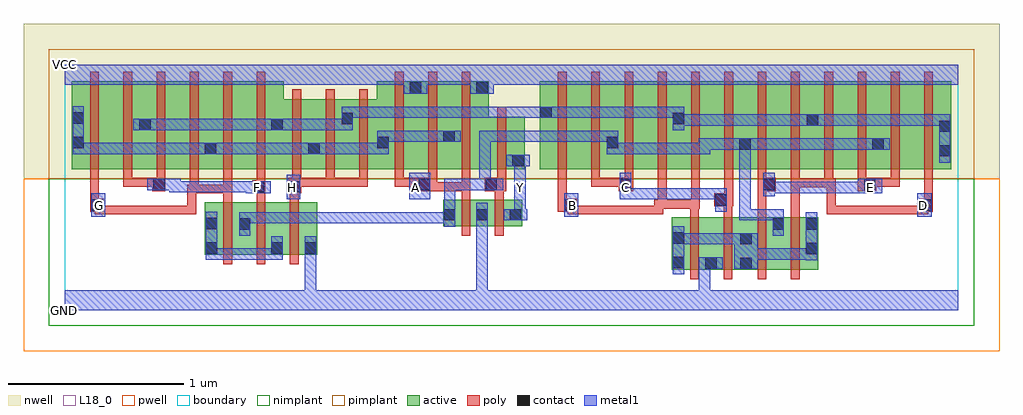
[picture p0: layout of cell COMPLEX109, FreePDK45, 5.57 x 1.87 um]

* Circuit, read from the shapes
.subckt COMPLEX109 A B C D E F G GND H VCC Y
M1 n1 G n2 VSUBS nfet w=0.3u l=0.05u
M2 n2 F n1 VSUBS nfet w=0.3u l=0.05u
M3 GND H n2 VSUBS nfet w=0.3u l=0.05u
M4 GND A n1 VSUBS nfet w=0.15u l=0.05u
M5 Y n1 GND VSUBS nfet w=0.15u l=0.05u
M6 GND B n3 VSUBS nfet w=0.3u l=0.05u
M7 n3 C GND VSUBS nfet w=0.3u l=0.05u
M8 n1 E n3 VSUBS nfet w=0.3u l=0.05u
M9 n3 D n1 VSUBS nfet w=0.3u l=0.05u
M10 n4 G n5 n6 pfet w=0.5u l=0.05u
M11 n7 F n4 n6 pfet w=0.5u l=0.05u
M12 n8 F n7 n6 pfet w=0.5u l=0.05u
M13 n5 G n8 n6 pfet w=0.5u l=0.05u
M14 n9 G n5 n6 pfet w=0.5u l=0.05u
M15 n7 F n9 n6 pfet w=0.5u l=0.05u
M16 n5 H n7 n6 pfet w=0.4u l=0.05u m=3
M17 VCC A n5 n6 pfet w=0.5u l=0.05u m=3
M18 Y n1 VCC n6 pfet w=0.3u l=0.05u
M19 n10 B n7 n6 pfet w=0.5u l=0.05u
M20 n1 C n10 n6 pfet w=0.5u l=0.05u
M21 n11 C n1 n6 pfet w=0.5u l=0.05u
M22 n7 B n11 n6 pfet w=0.5u l=0.05u
M23 n12 B n7 n6 pfet w=0.5u l=0.05u
M24 n1 C n12 n6 pfet w=0.5u l=0.05u
M25 n13 E n1 n6 pfet w=0.5u l=0.05u
M26 n7 D n13 n6 pfet w=0.5u l=0.05u
M27 n14 D n7 n6 pfet w=0.5u l=0.05u
M28 n1 E n14 n6 pfet w=0.5u l=0.05u
M29 n15 E n1 n6 pfet w=0.5u l=0.05u
M30 n7 D n15 n6 pfet w=0.5u l=0.05u
.ends

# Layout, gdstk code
import gdstk
lib = gdstk.Library(unit=1e-6, precision=1e-09)
def R(c, l, rs):  # rectangles x0, y0, x1, y1
    for r in rs: c.add(gdstk.rectangle(r[:2], r[2:], *l))
def A(c, l, x, y, w, h, nx, ny, dx, dy):  # array of equal rectangles
    R(c, l, [(x+i*dx, y+j*dy, x+i*dx+w, y+j*dy+h) for i in range(nx) for j in range(ny)])
active = (1, 0)
pwell = (2, 0)
nwell = (3, 0)
nimplant = (4, 0)
pimplant = (5, 0)
poly = (9, 0)
contact = (10, 0)
metal1 = (11, 0)
L18_0 = (18, 0)
boundary = (235, 0)

complex109 = lib.new_cell('COMPLEX109')
R(complex109, active, [(3.465,0.23,3.725,0.53), (3.65,0.23,3.925,0.53), (3.65,0.23,3.725,0.487), (3.85,0.23,4.11,0.53), (3.85,0.23,3.925,0.497), (4.035,0.23,4.3,0.53), (4.225,0.23,4.3,0.53), (3.465,0.235,3.54,0.53), (0.8,0.317,0.875,0.617), (0.8,0.317,1.065,0.617), (0.99,0.317,1.25,0.617), (1.175,0.317,1.44,0.617), (1.175,0.317,1.25,0.497), (1.365,0.317,1.44,0.597), (0.99,0.357,1.065,0.53), (4.035,0.357,4.11,0.53), (2.16,0.48,2.235,0.63), (2.16,0.48,2.42,0.63), (2.345,0.48,2.61,0.63), (2.535,0.48,2.61,0.63), (2.345,0.502,2.42,0.582), (0.04,0.805,0.265,1.305), (0.04,0.805,0.145,1.2), (0.265,0.805,0.495,1.305), (0.42,0.805,0.495,1.2), (0.42,0.805,0.645,1.305), (0.645,0.805,0.87,1.305), (0.795,0.805,1.025,1.305), (0.795,0.805,0.87,1.07), (1.025,0.805,1.25,1.305), (1.175,0.805,1.46,1.205), (1.385,0.805,1.46,1.07), (1.385,0.805,1.65,1.205), (1.575,0.805,1.65,1.2), (1.575,0.805,1.855,1.205), (1.78,0.805,2.04,1.305), (1.965,0.805,2.23,1.305), (1.965,0.805,2.04,1.305), (2.155,0.805,2.23,1.07), (2.155,0.805,2.42,1.305), (2.345,0.805,2.625,1.105), (2.71,0.805,2.935,1.305), (2.935,0.805,3.165,1.305), (3.09,0.805,3.315,1.305), (3.09,0.805,3.165,1.07), (3.315,0.805,3.54,1.305), (3.465,0.805,3.54,1.2), (3.465,0.805,3.695,1.305), (3.695,0.805,3.92,1.305), (3.845,0.805,4.075,1.305), (3.845,0.805,3.92,1.07), (4.075,0.805,4.305,1.305), (4.23,0.805,4.305,1.2), (4.23,0.805,4.455,1.305), (4.455,0.805,4.68,1.305), (4.605,0.805,4.835,1.305), (4.605,0.805,4.68,1.07), (4.835,0.805,5.06,1.305), (4.985,0.805,5.06,1.2), (2.71,0.807,2.815,1.2), (2.55,0.817,2.625,0.917), (2.345,0.865,2.42,1.305), (1.175,0.907,1.25,1.2), (1.78,0.907,1.855,1.07)])
R(complex109, pwell, [(-0.235,-0.235,5.335,0.75)])
R(complex109, nwell, [(-0.235,0.75,5.335,1.635)])
R(complex109, nimplant, [(-0.09,-0.09,5.19,0.75)])
R(complex109, pimplant, [(-0.09,0.75,5.19,1.49)])
A(complex109, poly, 0.905, 0.262, 0.05, 0.41, 3, 1, 0.19, 0)
A(complex109, poly, 0.905, 0.622, 0.05, 0.095, 3, 1, 0.19, 0)
A(complex109, poly, 1.3, 0.705, 0.05, 0.095, 3, 1, 0.19, 0)
A(complex109, poly, 0.145, 0.75, 0.05, 0.61, 6, 1, 0.19, 0)
A(complex109, poly, 1.3, 0.75, 0.05, 0.51, 3, 1, 0.19, 0)
A(complex109, poly, 1.885, 0.75, 0.05, 0.61, 3, 1, 0.19, 0)
A(complex109, poly, 2.815, 0.75, 0.05, 0.61, 12, 1, 0.19, 0)
R(complex109, poly, [(3.57,0.175,3.62,0.585), (3.76,0.175,3.81,0.585), (3.955,0.175,4.005,0.585), (4.145,0.175,4.195,0.585), (2.265,0.425,2.315,0.685), (2.455,0.425,2.505,0.685), (3.57,0.535,3.62,0.63), (3.76,0.535,3.81,0.642), (3.955,0.535,4.005,0.73), (4.145,0.535,4.195,0.752), (0.172,0.547,0.222,0.612), (0.172,0.547,0.222,0.597), (0.172,0.547,0.417,0.597), (0.367,0.547,0.417,0.597), (0.367,0.547,0.417,0.597), (0.367,0.547,0.417,0.597), (0.367,0.547,0.617,0.597), (0.567,0.547,0.617,0.597), (0.567,0.547,0.617,0.597), (0.567,0.547,0.617,0.597), (0.567,0.547,0.75,0.597), (0.7,0.547,0.75,0.597), (0.7,0.547,0.75,0.597), (0.7,0.547,0.75,0.597), (0.7,0.547,0.75,0.597), (0.7,0.547,0.75,0.597), (0.7,0.547,0.75,0.717), (2.872,0.547,2.922,0.612), (2.872,0.547,2.922,0.597), (2.872,0.547,2.922,0.597), (2.872,0.547,2.922,0.597), (2.872,0.547,2.922,0.597), (2.872,0.547,2.922,0.597), (2.872,0.547,3.055,0.597), (3.005,0.547,3.055,0.597), (3.005,0.547,3.055,0.597), (3.005,0.547,3.055,0.597), (3.005,0.547,3.187,0.597), (3.137,0.547,3.187,0.597), (3.137,0.547,3.415,0.597), (3.365,0.547,3.415,0.597), (3.365,0.547,3.415,0.597), (3.365,0.547,3.415,0.597), (3.365,0.547,3.415,0.63), (4.35,0.547,4.4,0.597), (4.35,0.547,4.4,0.597), (4.35,0.547,4.4,0.597), (4.35,0.547,4.4,0.597), (4.35,0.547,4.4,0.597), (4.35,0.547,4.532,0.597), (4.35,0.547,4.4,0.752), (4.482,0.547,4.532,0.597), (4.482,0.547,4.795,0.597), (4.745,0.547,4.795,0.597), (4.745,0.547,4.795,0.597), (4.745,0.547,4.795,0.597), (4.745,0.547,4.927,0.597), (4.877,0.547,4.927,0.612), (4.877,0.547,4.927,0.597), (4.877,0.547,4.927,0.597), (4.877,0.547,4.927,0.597), (4.877,0.547,4.927,0.597), (4.877,0.547,4.927,0.597), (0.145,0.562,0.222,0.637), (0.172,0.562,0.222,0.612), (0.172,0.562,0.222,0.612), (2.815,0.562,2.922,0.637), (4.877,0.562,4.955,0.637), (3.365,0.58,3.415,0.63), (3.365,0.58,3.415,0.63), (3.365,0.58,3.435,0.63), (3.385,0.58,3.435,0.8), (3.385,0.58,3.62,0.63), (3.57,0.58,3.62,0.63), (3.57,0.58,3.62,0.63), (3.57,0.58,3.625,0.63), (3.575,0.58,3.625,0.8), (0.145,0.587,0.195,0.8), (2.815,0.587,2.865,0.8), (4.905,0.587,4.955,0.8), (3.707,0.592,3.815,0.667), (3.765,0.617,3.815,0.8), (2.265,0.635,2.315,0.73), (2.455,0.635,2.505,0.73), (0.7,0.667,0.765,0.717), (0.715,0.667,0.955,0.717), (0.715,0.667,0.765,0.8), (0.905,0.667,0.955,0.717), (0.905,0.667,0.955,0.717), (0.905,0.667,0.955,0.717), (0.905,0.667,0.955,0.8), (1.07,0.667,1.145,0.742), (1.275,0.667,1.35,0.755), (0.5,0.68,0.575,0.755), (2.017,0.68,2.125,0.755), (2.075,0.68,2.125,0.73), (2.075,0.68,2.125,0.73), (2.075,0.68,2.315,0.73), (2.265,0.68,2.315,0.73), (2.265,0.68,2.315,0.8), (2.397,0.68,2.52,0.755), (3.162,0.68,3.245,0.755), (3.955,0.68,4.057,0.755), (4.525,0.68,4.632,0.755), (1.095,0.692,1.145,0.8), (4.145,0.702,4.195,0.752), (4.145,0.702,4.195,0.752), (4.145,0.702,4.195,0.752), (4.145,0.702,4.195,0.8), (4.145,0.702,4.385,0.752), (4.335,0.702,4.385,0.8), (4.335,0.702,4.4,0.752), (0.335,0.705,0.385,0.755), (0.335,0.705,0.385,0.8), (0.335,0.705,0.55,0.755), (0.5,0.705,0.55,0.755), (0.5,0.705,0.55,0.755), (0.525,0.705,0.575,0.8), (1.3,0.705,1.35,0.755), (1.3,0.705,1.35,0.755), (1.3,0.705,1.54,0.755), (1.49,0.705,1.54,0.755), (1.49,0.705,1.54,0.755), (1.49,0.705,1.54,0.755), (1.49,0.705,1.73,0.755), (1.68,0.705,1.73,0.755), (1.885,0.705,1.935,0.755), (1.885,0.705,1.935,0.755), (1.885,0.705,1.935,0.755), (1.885,0.705,2.067,0.755), (1.885,0.705,1.935,0.8), (2.075,0.705,2.125,0.8), (2.47,0.705,2.52,0.8), (3.005,0.705,3.055,0.755), (3.005,0.705,3.055,0.755), (3.005,0.705,3.055,0.755), (3.005,0.705,3.055,0.8), (3.005,0.705,3.212,0.755), (3.195,0.705,3.245,0.8), (3.955,0.705,4.005,0.8), (4.525,0.705,4.575,0.8), (4.582,0.705,4.632,0.755), (4.582,0.705,4.632,0.755), (4.582,0.705,4.765,0.755), (4.715,0.705,4.765,0.755), (4.715,0.705,4.765,0.8), (2.47,0.75,2.52,1.16)])
R(complex109, contact, [(3.855,0.235,3.92,0.3), (3.655,0.237,3.72,0.302), (3.47,0.24,3.535,0.305), (4.23,0.32,4.295,0.385), (0.805,0.322,0.87,0.387), (1.18,0.322,1.245,0.387), (1.37,0.322,1.435,0.387), (3.855,0.375,3.92,0.44), (3.47,0.38,3.535,0.445), (0.995,0.46,1.06,0.525), (4.04,0.46,4.105,0.525), (4.23,0.46,4.295,0.525), (0.805,0.462,0.87,0.527), (2.165,0.512,2.23,0.577), (2.35,0.512,2.415,0.577), (2.54,0.512,2.605,0.577), (0.152,0.567,0.217,0.632), (2.852,0.567,2.917,0.632), (4.882,0.567,4.947,0.632), (3.712,0.597,3.777,0.662), (1.075,0.672,1.14,0.737), (1.28,0.672,1.345,0.737), (0.505,0.685,0.57,0.75), (2.022,0.685,2.087,0.75), (2.402,0.685,2.467,0.75), (3.167,0.685,3.232,0.75), (3.987,0.685,4.052,0.75), (4.562,0.685,4.627,0.75), (2.555,0.822,2.62,0.887), (4.99,0.877,5.055,0.942), (0.8,0.89,0.865,0.955), (1.39,0.89,1.455,0.955), (3.85,0.915,3.915,0.98), (4.61,0.915,4.675,0.98), (0.045,0.925,0.11,0.99), (1.785,0.925,1.85,0.99), (3.095,0.925,3.16,0.99), (2.16,0.96,2.225,1.025), (4.99,1.017,5.055,1.082), (0.425,1.027,0.49,1.092), (1.18,1.027,1.245,1.092), (4.235,1.052,4.3,1.117), (1.58,1.062,1.645,1.127), (3.47,1.062,3.535,1.127), (0.045,1.065,0.11,1.13), (2.715,1.097,2.78,1.162), (1.97,1.235,2.035,1.3), (2.35,1.235,2.415,1.3)])
R(complex109, metal1, [(0,0,5.1,0.115), (1.37,0.05,1.435,0.115), (1.37,0.05,1.435,0.115), (1.37,0.05,1.435,0.115), (1.37,0.05,1.435,0.115), (1.37,0.05,1.435,0.352), (2.35,0.05,2.415,0.115), (2.35,0.05,2.415,0.115), (2.35,0.05,2.415,0.115), (2.35,0.05,2.415,0.115), (2.35,0.05,2.415,0.115), (2.35,0.05,2.415,0.115), (2.35,0.05,2.415,0.542), (3.62,0.05,3.685,0.115), (3.62,0.05,3.685,0.115), (3.62,0.05,3.685,0.302), (3.47,0.205,3.535,0.48), (3.82,0.235,3.955,0.44), (3.62,0.237,3.685,0.302), (3.62,0.237,3.685,0.302), (3.62,0.237,3.755,0.302), (4.23,0.285,4.295,0.56), (0.805,0.287,0.87,0.562), (0.805,0.287,0.922,0.352), (0.857,0.287,0.922,0.352), (0.857,0.287,1.06,0.352), (0.995,0.287,1.06,0.352), (0.995,0.287,1.06,0.352), (0.995,0.287,1.06,0.352), (0.995,0.287,1.245,0.352), (1.18,0.287,1.245,0.422), (1.37,0.287,1.435,0.422), (3.89,0.287,3.955,0.352), (3.89,0.287,3.955,0.352), (3.89,0.287,4.127,0.352), (4.062,0.287,4.127,0.352), (4.062,0.287,4.295,0.352), (4.23,0.287,4.295,0.352), (4.23,0.287,4.295,0.352), (3.47,0.375,3.535,0.44), (3.47,0.375,3.535,0.44), (3.47,0.375,3.742,0.44), (3.677,0.375,3.742,0.44), (3.677,0.375,3.817,0.44), (3.752,0.375,3.817,0.44), (3.752,0.375,3.885,0.44), (0.995,0.425,1.06,0.56), (4.04,0.425,4.105,0.56), (2.165,0.477,2.23,0.612), (2.35,0.477,2.415,0.612), (0.995,0.495,1.06,0.56), (0.995,0.495,1.06,0.56), (0.995,0.495,1.282,0.56), (1.217,0.495,1.282,0.56), (1.217,0.495,1.282,0.56), (1.217,0.495,1.282,0.56), (1.217,0.495,1.507,0.56), (1.442,0.495,1.507,0.56), (1.442,0.495,1.507,0.56), (1.442,0.495,1.507,0.56), (1.442,0.495,1.645,0.56), (1.58,0.495,1.645,0.56), (1.58,0.495,1.645,0.56), (1.58,0.495,1.645,0.56), (1.58,0.495,1.85,0.56), (1.785,0.495,1.85,0.56), (1.785,0.495,1.85,0.56), (1.785,0.495,1.85,0.56), (1.785,0.495,1.987,0.56), (1.922,0.495,1.987,0.56), (1.922,0.495,1.987,0.56), (1.922,0.495,1.987,0.56), (1.922,0.495,2.23,0.56), (4.04,0.495,4.105,0.56), (4.04,0.495,4.105,0.577), (2.505,0.512,2.64,0.577), (2.567,0.512,2.632,0.697), (3.85,0.512,3.915,0.577), (3.85,0.512,4.105,0.577), (3.85,0.512,3.915,0.955), (0.152,0.532,0.232,0.667), (2.852,0.532,2.932,0.667), (4.867,0.532,4.947,0.667), (2.165,0.547,2.23,0.75), (3.712,0.562,3.777,0.697), (1.267,0.632,1.345,0.772), (1.967,0.632,2.087,0.785), (2.567,0.632,2.632,0.767), (3.167,0.632,3.37,0.697), (3.167,0.632,3.232,0.785), (3.305,0.632,3.37,0.697), (3.305,0.632,3.37,0.697), (3.305,0.632,3.37,0.697), (3.305,0.632,3.547,0.697), (3.482,0.632,3.547,0.697), (3.482,0.632,3.547,0.697), (3.482,0.632,3.547,0.697), (3.482,0.632,3.685,0.697), (3.62,0.632,3.685,0.697), (3.62,0.632,3.777,0.697), (3.987,0.65,4.052,0.785), (1.032,0.667,1.175,0.737), (3.987,0.667,4.127,0.732), (4.062,0.667,4.127,0.732), (4.062,0.667,4.295,0.732), (4.23,0.667,4.295,0.732), (4.23,0.667,4.295,0.732), (4.23,0.667,4.295,0.732), (4.23,0.667,4.432,0.732), (4.367,0.667,4.432,0.732), (4.367,0.667,4.502,0.732), (4.437,0.667,4.502,0.732), (4.437,0.667,4.592,0.732), (4.527,0.667,4.667,0.75), (0.597,0.672,0.762,0.737), (0.597,0.672,0.662,0.75), (0.697,0.672,0.762,0.737), (0.697,0.672,0.9,0.737), (0.835,0.672,0.9,0.737), (0.835,0.672,0.9,0.737), (0.835,0.672,0.9,0.737), (0.835,0.672,1.037,0.737), (0.972,0.672,1.037,0.737), (0.972,0.672,1.097,0.737), (0.47,0.685,0.605,0.75), (0.54,0.685,0.662,0.75), (2.165,0.685,2.23,0.75), (2.165,0.685,2.23,0.75), (2.165,0.685,2.23,0.75), (2.165,0.685,2.432,0.75), (2.367,0.685,2.432,0.75), (2.367,0.685,2.432,0.75), (2.367,0.685,2.502,0.75), (2.367,0.685,2.432,1.025), (2.567,0.702,2.632,0.887), (2.52,0.822,2.655,0.887), (4.99,0.842,5.055,1.117), (0.045,0.89,0.11,0.955), (0.045,0.89,0.11,0.955), (0.045,0.89,0.11,1.165), (0.045,0.89,0.25,0.955), (0.185,0.89,0.25,0.955), (0.185,0.89,0.25,0.955), (0.185,0.89,0.25,0.955), (0.185,0.89,0.387,0.955), (0.322,0.89,0.387,0.955), (0.322,0.89,0.387,0.955), (0.322,0.89,0.387,0.955), (0.322,0.89,0.662,0.955), (0.597,0.89,0.662,0.955), (0.597,0.89,0.742,0.955), (0.677,0.89,0.742,0.955), (0.677,0.89,0.83,0.955), (0.765,0.89,0.9,0.955), (0.835,0.89,0.9,0.955), (0.835,0.89,0.9,0.955), (0.835,0.89,1.072,0.955), (1.007,0.89,1.072,0.955), (1.007,0.89,1.072,0.955), (1.007,0.89,1.072,0.955), (1.007,0.89,1.282,0.955), (1.217,0.89,1.282,0.955), (1.217,0.89,1.282,0.955), (1.217,0.89,1.282,0.955), (1.217,0.89,1.42,0.955), (1.355,0.89,1.49,0.955), (1.425,0.89,1.49,0.955), (1.425,0.89,1.49,0.955), (1.425,0.89,1.712,0.955), (1.647,0.89,1.712,0.955), (1.647,0.89,1.712,0.955), (1.647,0.89,1.712,0.955), (1.647,0.89,1.85,0.955), (1.785,0.89,1.85,1.025), (3.095,0.89,3.16,0.955), (3.095,0.89,3.16,0.955), (3.095,0.89,3.16,1.025), (3.095,0.89,3.37,0.955), (3.305,0.89,3.37,0.955), (3.305,0.89,3.37,0.955), (3.305,0.89,3.37,0.955), (3.305,0.89,3.547,0.955), (3.482,0.89,3.547,0.955), (3.482,0.89,3.547,0.955), (3.482,0.89,3.547,0.955), (3.482,0.89,3.685,0.955), (3.62,0.89,3.685,0.955), (3.62,0.89,3.685,0.955), (3.62,0.89,3.685,0.98), (3.85,0.89,3.915,0.955), (3.85,0.89,3.915,0.955), (3.85,0.89,3.915,0.955), (3.85,0.89,3.915,0.98), (3.62,0.915,3.88,0.98), (3.815,0.915,3.95,0.98), (3.885,0.915,4.127,0.98), (4.062,0.915,4.127,0.98), (4.062,0.915,4.127,0.98), (4.062,0.915,4.127,0.98), (4.062,0.915,4.295,0.98), (4.23,0.915,4.295,0.98), (4.23,0.915,4.295,0.98), (4.23,0.915,4.295,0.98), (4.23,0.915,4.432,0.98), (4.367,0.915,4.432,0.98), (4.367,0.915,4.502,0.98), (4.437,0.915,4.502,0.98), (4.437,0.915,4.64,0.98), (4.575,0.915,4.64,0.98), (4.575,0.915,4.64,0.98), (4.575,0.915,4.71,0.98), (1.785,0.96,1.85,1.025), (1.785,0.96,1.85,1.025), (1.785,0.96,2.035,1.025), (1.97,0.96,2.035,1.025), (1.97,0.96,2.035,1.025), (1.97,0.96,2.035,1.025), (1.97,0.96,2.19,1.025), (2.125,0.96,2.26,1.025), (2.367,0.96,2.432,1.025), (2.367,0.96,2.432,1.025), (2.367,0.96,2.432,1.025), (2.367,0.96,2.57,1.025), (2.505,0.96,2.57,1.025), (2.505,0.96,2.57,1.025), (2.505,0.96,2.57,1.025), (2.505,0.96,2.815,1.025), (2.75,0.96,2.815,1.025), (2.75,0.96,2.815,1.025), (2.75,0.96,2.815,1.025), (2.75,0.96,2.952,1.025), (2.887,0.96,2.952,1.025), (2.887,0.96,2.952,1.025), (2.887,0.96,2.952,1.025), (2.887,0.96,3.16,1.025), (0.39,1.027,0.525,1.092), (0.46,1.027,0.525,1.092), (0.46,1.027,0.525,1.092), (0.46,1.027,0.662,1.092), (0.597,1.027,0.662,1.092), (0.597,1.027,0.762,1.092), (0.697,1.027,0.762,1.092), (0.697,1.027,0.9,1.092), (0.835,1.027,0.9,1.092), (0.835,1.027,0.9,1.092), (0.835,1.027,0.9,1.092), (0.835,1.027,1.06,1.092), (0.995,1.027,1.06,1.092), (0.995,1.027,1.06,1.092), (0.995,1.027,1.06,1.092), (0.995,1.027,1.21,1.092), (1.145,1.027,1.28,1.092), (1.215,1.027,1.28,1.092), (1.215,1.027,1.28,1.092), (1.215,1.027,1.42,1.092), (1.355,1.027,1.42,1.092), (1.355,1.027,1.42,1.092), (1.355,1.027,1.42,1.092), (1.355,1.027,1.645,1.092), (1.58,1.027,1.645,1.162), (3.47,1.027,3.535,1.162), (3.47,1.052,3.535,1.117), (3.47,1.052,3.535,1.117), (3.47,1.052,3.742,1.117), (3.677,1.052,3.742,1.117), (3.677,1.052,3.742,1.117), (3.677,1.052,3.742,1.117), (3.677,1.052,3.967,1.117), (3.902,1.052,3.967,1.117), (3.902,1.052,3.967,1.117), (3.902,1.052,3.967,1.117), (3.902,1.052,4.105,1.117), (4.04,1.052,4.105,1.117), (4.04,1.052,4.265,1.117), (4.2,1.052,4.265,1.117), (4.2,1.052,4.265,1.117), (4.2,1.052,4.335,1.117), (4.27,1.052,4.432,1.117), (4.367,1.052,4.432,1.117), (4.367,1.052,4.472,1.117), (4.407,1.052,4.472,1.117), (4.407,1.052,4.64,1.117), (4.575,1.052,4.64,1.117), (4.575,1.052,4.64,1.117), (4.575,1.052,4.64,1.117), (4.575,1.052,4.795,1.117), (4.73,1.052,4.795,1.117), (4.73,1.052,4.795,1.117), (4.73,1.052,4.795,1.117), (4.73,1.052,5.055,1.117), (4.99,1.052,5.055,1.117), (4.99,1.052,5.055,1.117), (1.58,1.097,1.645,1.162), (1.58,1.097,1.645,1.162), (1.58,1.097,1.85,1.162), (1.785,1.097,1.85,1.162), (1.785,1.097,1.85,1.162), (1.785,1.097,1.85,1.162), (1.785,1.097,1.987,1.162), (1.922,1.097,1.987,1.162), (1.922,1.097,1.987,1.162), (1.922,1.097,1.987,1.162), (1.922,1.097,2.242,1.162), (2.177,1.097,2.242,1.162), (2.177,1.097,2.242,1.162), (2.177,1.097,2.242,1.162), (2.177,1.097,2.432,1.162), (2.367,1.097,2.432,1.162), (2.367,1.097,2.432,1.162), (2.367,1.097,2.432,1.162), (2.367,1.097,2.677,1.162), (2.612,1.097,2.677,1.162), (2.612,1.097,2.745,1.162), (2.68,1.097,2.815,1.162), (2.75,1.097,2.815,1.162), (2.75,1.097,2.815,1.162), (2.75,1.097,3.022,1.162), (2.957,1.097,3.022,1.162), (2.957,1.097,3.022,1.162), (2.957,1.097,3.022,1.162), (2.957,1.097,3.232,1.162), (3.167,1.097,3.232,1.162), (3.167,1.097,3.232,1.162), (3.167,1.097,3.232,1.162), (3.167,1.097,3.37,1.162), (3.305,1.097,3.37,1.162), (3.305,1.097,3.37,1.162), (3.305,1.097,3.37,1.162), (3.305,1.097,3.535,1.162), (1.935,1.235,2.07,1.3), (2.005,1.235,2.07,1.35), (2.315,1.235,2.45,1.3), (2.385,1.235,2.45,1.35), (0,1.285,5.1,1.4)])
A(complex109, L18_0, 1.967, 0.667, 0.065, 0.065, 3, 1, 0.6, 0)
R(complex109, L18_0, [(0,0,5.1,0.115), (1.37,0.05,1.435,0.115), (1.37,0.05,1.435,0.115), (1.37,0.05,1.435,0.115), (1.37,0.05,1.435,0.115), (1.37,0.05,1.435,0.352), (2.35,0.05,2.415,0.115), (2.35,0.05,2.415,0.115), (2.35,0.05,2.415,0.115), (2.35,0.05,2.415,0.115), (2.35,0.05,2.415,0.115), (2.35,0.05,2.415,0.115), (2.35,0.05,2.415,0.542), (3.62,0.05,3.685,0.115), (3.62,0.05,3.685,0.115), (3.62,0.05,3.685,0.302), (3.62,0.237,3.755,0.302), (3.62,0.237,3.685,0.302), (3.62,0.237,3.685,0.302), (1.37,0.287,1.435,0.422), (2.35,0.477,2.415,0.612), (2.505,0.512,2.64,0.577), (2.567,0.512,2.632,0.697), (0.152,0.532,0.232,0.667), (2.852,0.532,2.932,0.667), (4.867,0.532,4.947,0.667), (3.712,0.562,3.777,0.697), (0.167,0.567,0.232,0.632), (2.867,0.567,2.932,0.632), (4.867,0.567,4.932,0.632), (1.267,0.632,1.345,0.772), (1.967,0.632,2.087,0.785), (2.567,0.632,2.632,0.767), (3.167,0.632,3.37,0.697), (3.167,0.632,3.232,0.785), (3.305,0.632,3.37,0.697), (3.305,0.632,3.37,0.697), (3.305,0.632,3.37,0.697), (3.305,0.632,3.547,0.697), (3.482,0.632,3.547,0.697), (3.482,0.632,3.547,0.697), (3.482,0.632,3.547,0.697), (3.482,0.632,3.685,0.697), (3.62,0.632,3.685,0.697), (3.62,0.632,3.777,0.697), (3.987,0.65,4.052,0.785), (1.032,0.667,1.175,0.737), (1.067,0.667,1.132,0.732), (1.267,0.667,1.332,0.732), (3.987,0.667,4.127,0.732), (4.062,0.667,4.127,0.732), (4.062,0.667,4.295,0.732), (4.23,0.667,4.295,0.732), (4.23,0.667,4.295,0.732), (4.23,0.667,4.295,0.732), (4.23,0.667,4.432,0.732), (4.367,0.667,4.502,0.732), (4.367,0.667,4.432,0.732), (4.437,0.667,4.502,0.732), (4.437,0.667,4.592,0.732), (4.527,0.667,4.667,0.75), (4.567,0.667,4.632,0.732), (0.597,0.672,0.662,0.75), (0.597,0.672,0.762,0.737), (0.697,0.672,0.762,0.737), (0.697,0.672,0.9,0.737), (0.835,0.672,0.9,0.737), (0.835,0.672,0.9,0.737), (0.835,0.672,0.9,0.737), (0.835,0.672,1.037,0.737), (0.972,0.672,1.037,0.737), (0.972,0.672,1.097,0.737), (0.47,0.685,0.605,0.75), (0.54,0.685,0.662,0.75), (2.567,0.702,2.632,0.887), (2.52,0.822,2.655,0.887), (1.935,1.235,2.07,1.3), (2.005,1.235,2.07,1.35), (2.315,1.235,2.45,1.3), (2.385,1.235,2.45,1.35), (0,1.285,5.1,1.4)])
R(complex109, boundary, [(0,0,5.1,1.4)])
complex109.add(gdstk.Label('A', (2,0.7), layer=11, texttype=0))
complex109.add(gdstk.Label('B', (2.9,0.6), layer=11, texttype=0))
complex109.add(gdstk.Label('C', (3.2,0.7), layer=11, texttype=0))
complex109.add(gdstk.Label('D', (4.9,0.6), layer=11, texttype=0))
complex109.add(gdstk.Label('E', (4.6,0.7), layer=11, texttype=0))
complex109.add(gdstk.Label('F', (1.1,0.7), layer=11, texttype=0))
complex109.add(gdstk.Label('G', (0.2,0.6), layer=11, texttype=0))
complex109.add(gdstk.Label('H', (1.3,0.7), layer=11, texttype=0))
complex109.add(gdstk.Label('Y', (2.6,0.7), layer=11, texttype=0))
complex109.add(gdstk.Label('VCC', (0,1.4), layer=11, texttype=0))
complex109.add(gdstk.Label('GND', (0,0), layer=11, texttype=0))

lib.write_gds('COMPLEX109.gds')
